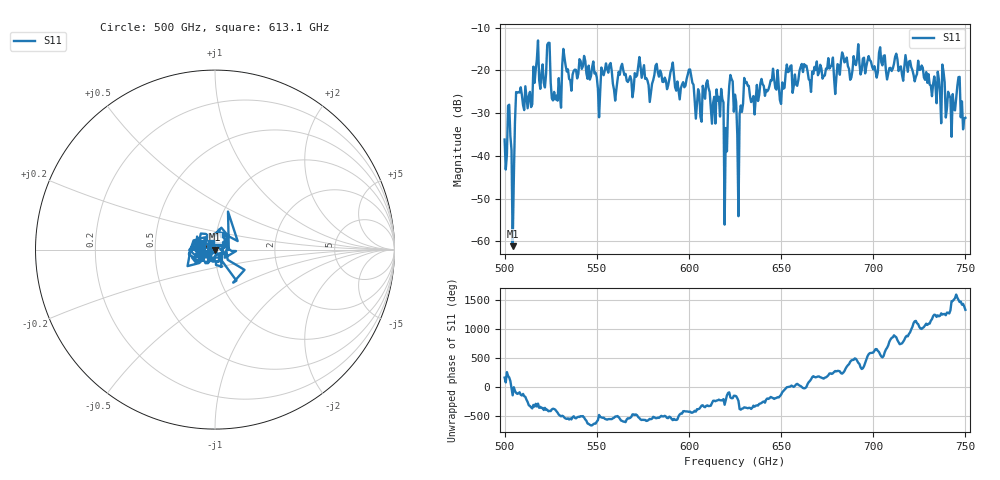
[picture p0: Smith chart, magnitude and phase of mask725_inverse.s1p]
!Created with skrf (http://scikit-rf.org).
# GHz S MA R 50.0
!freq magS11 angS11
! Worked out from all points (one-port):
!   401 points, 500 GHz to 750 GHz, reference 50 ohm
!   lowest |S11| = -61.1 dB at 504.4 GHz (marker M1), VSWR 1.00, Z = 49.9 - j0.05 ohm
!   |S11| at or under -10 dB: start of sweep to end of sweep
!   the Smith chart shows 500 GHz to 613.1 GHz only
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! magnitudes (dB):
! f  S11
! 500 GHz  -36.2
! 502.5 GHz  -28.0
! 504.4 GHz  -61.1
! 507.5 GHz  -25.1
! 513.8 GHz  -25.0
! 516.9 GHz  -19.8
! 520.6 GHz  -18.6
! 523.8 GHz  -13.6
! 526.9 GHz  -25.0
! 531.2 GHz  -18.8
! 562.5 GHz  -21.0
! 593.8 GHz  -22.6
! 600 GHz  -19.8
! 605 GHz  -24.4
! 617.5 GHz  -24.3
! 620 GHz  -33.5
! 622.5 GHz  -21.1
! 625 GHz  -25.7
! 625.6 GHz  -27.4
! 627.5 GHz  -30.3
! 631.2 GHz  -22.7
! 635 GHz  -26.0
! 656.2 GHz  -25.3
! 687.5 GHz  -22.2
! 718.8 GHz  -20.3
! 743.1 GHz  -25.5
! 746.9 GHz  -21.5
! 750 GHz  -31.1
